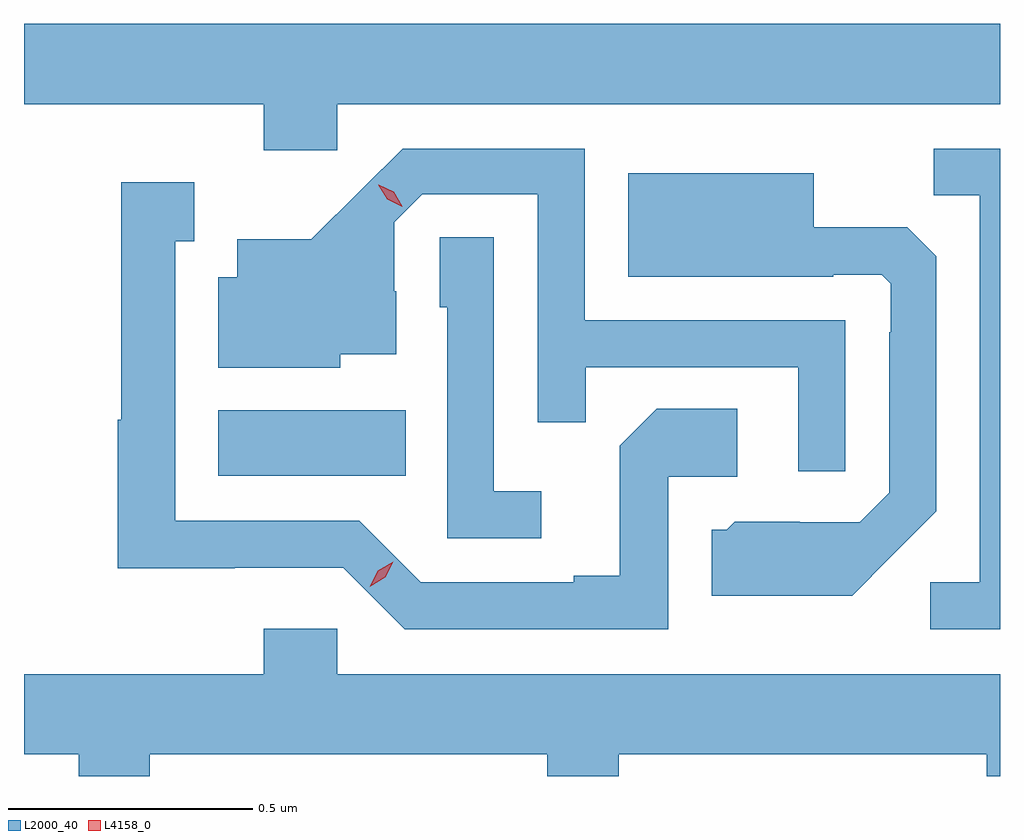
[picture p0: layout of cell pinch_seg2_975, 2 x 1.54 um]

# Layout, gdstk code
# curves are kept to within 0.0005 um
import gdstk
lib = gdstk.Library(unit=1e-6, precision=1e-09)
def R(c, l, rs):  # rectangles x0, y0, x1, y1
    for r in rs: c.add(gdstk.rectangle(r[:2], r[2:], *l))
def P(c, l, *ps):  # polygons
    for p in ps: c.add(gdstk.Polygon(p, *l))
L2000_40 = (2000, 40)
L4158_0 = (4158, 0)

pinch_seg2_975 = lib.new_cell('pinch_seg2_975')
R(pinch_seg2_975, L2000_40, [(329.624,630.89,330.008,631.024)])
P(pinch_seg2_975, L2000_40, [(329.226,631.652),(329.717,631.652),(329.717,631.557),(329.868,631.557),(329.868,631.652),(331.226,631.652),(331.226,631.816),(329.226,631.816)],
  [(330.909,631.209),(330.375,631.209),(330.375,631.56),(330.002,631.56),(329.815,631.375),(329.663,631.375),(329.663,631.297),(329.624,631.297),(329.624,631.112),(329.874,631.112),(329.874,631.139),(329.989,631.139),(329.989,631.268),(329.985,631.268),(329.985,631.41),(330.042,631.467),(330.279,631.467),(330.279,631),(330.377,631),(330.377,631.113),(330.813,631.113),(330.813,630.9),(330.909,630.9)],
  [(331.226,631.56),(331.09,631.56),(331.09,631.465),(331.185,631.465),(331.185,630.672),(331.083,630.672),(331.083,630.576),(331.226,630.576)],
  [(331.003,630.725),(331.095,630.818),(331.095,631.34),(331.036,631.399),(330.844,631.399),(330.844,631.51),(330.464,631.51),(330.464,631.298),(330.884,631.298),(330.884,631.302),(330.984,631.302),(331.002,631.284),(331.002,631.184),(330.999,631.184),(330.999,630.855),(330.939,630.795),(330.816,630.795),(330.816,630.796),(330.682,630.796),(330.666,630.78),(330.635,630.78),(330.635,630.644),(330.923,630.644)],
  [(330.546,630.888),(330.688,630.888),(330.688,631.028),(330.523,631.028),(330.447,630.952),(330.447,630.685),(330.353,630.685),(330.353,630.672),(330.039,630.672),(329.913,630.798),(329.536,630.798),(329.536,631.371),(329.575,631.371),(329.575,631.492),(329.425,631.492),(329.425,631.005),(329.418,631.005),(329.418,630.701),(329.658,630.701),(329.658,630.702),(329.88,630.702),(330.006,630.576),(330.546,630.576)],
  [(330.286,630.859),(330.189,630.859),(330.189,631.379),(330.078,631.379),(330.078,631.236),(330.093,631.236),(330.093,630.762),(330.286,630.762)],
  [(329.484,630.32),(330.298,630.32),(330.298,630.275),(330.445,630.275),(330.445,630.32),(331.199,630.32),(331.199,630.275),(331.226,630.275),(331.226,630.484),(329.868,630.484),(329.868,630.577),(329.717,630.577),(329.717,630.484),(329.226,630.484),(329.226,630.32),(329.338,630.32),(329.338,630.275),(329.484,630.275)])
P(pinch_seg2_975, L4158_0, [(330.001,631.442),(329.97,631.457),(329.952,631.487),(329.952,631.487),(329.953,631.487),(329.984,631.472),(330.001,631.443),(330.001,631.442)],
  [(329.934,630.663),(329.934,630.663),(329.951,630.696),(329.983,630.714),(329.983,630.714),(329.983,630.714),(329.966,630.682),(329.934,630.663)])

lib.write_gds('pinch_seg2_975.gds')
